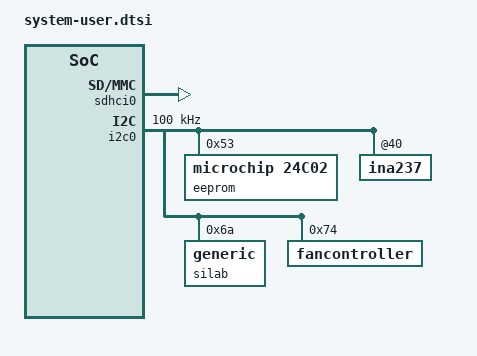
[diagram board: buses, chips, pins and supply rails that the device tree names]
/include/ "system-conf.dtsi"
/ {
};

&sdhci0 {
	status = "okay";
  no-1-8-v;
};

&i2c0 {
  status = "okay";
  clock-frequency = <100000>;
  eeprom@53 {
  	compatible = "microchip,24c02", "atmel,24c02";
    size = <256>;
    read-only;
  	reg = <0x53>;
  	pagesize = <8>; // part fitted is 24AA02E48. Schematic shows 24AA025E48 (16-byte page)
    #address-cells = <1>;
    #size-cells = <1>;
    mac_addr: mac_addr@FA {
      reg = <0xFA 0x06>;
    };
  };
  ina237@40 {
    //compatible = "ti,ina237";
    //reg = <0x40>;
    //adc-config = <0>;
    //config = <0>;
    //current-lsb = <1>;
    //rshunt = <5>;
  };
  silab@6a {
    compatible = "generic";
    reg = <0x6a>;
  };
  fancontroller@74 {
    reg = <0x74>;
  };
};

&gem0 {
  local-mac-address = <&mac_addr>;
  nvmem-cells = <&mac_addr>;
  nvmem-cell-names = "mac-address";
};
